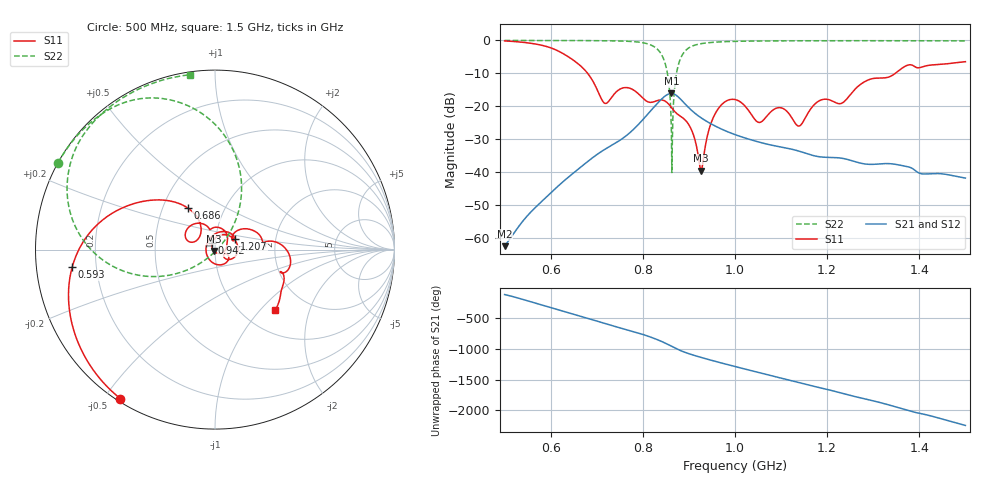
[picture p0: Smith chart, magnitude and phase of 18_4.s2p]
! TOUCHSTONE file generated by CST MICROWAVE STUDIO
! Date and time: Fri Oct  2 16:56:43 2020
! Project name: Scenario_1_Free_Space_out_of_line.cst
! Parameters = {Lambda=346.42; Step_1=17.321; dy1=52.843; dx1=693; L_HA=400; MT=2.54; Rad_Dielectric=30; Rad_Lower=7.3; Rad_Upper=30; a_HA=580; a_WG=246; b_HA=500; b_WG=121; c_HA=0; c_WG=187; d_feed=85; h_feed=15; h_lower=18; h_upper=40}
! Header version: 2018
! Port assignment regex: !\s*Touchstone port\s*([0-9]+)\s*=\s*(CST MWS port|CST DS port)\s*([0-9]+|Zmin|Zmax)\s*\(\"(.*)\"\)(\s*mode\s*([0-9]+))?.*
! Touchstone port assignment:
! Touchstone port 1 = CST MWS port 1 ("")
! Touchstone port 2 = CST MWS port 2 ("")
# GHz S DB R 50
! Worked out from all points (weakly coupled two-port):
!   1003 points, 500 MHz to 1.5 GHz, reference 50 ohm
!   highest |S21| = -16.10 dB at 862 MHz (marker M1); lowest = -62.4 dB at 500 MHz (marker M2)
!   lowest |S11| = -39.6 dB at 926 MHz (marker M3), VSWR 1.02, Z = 49.3 - j0.742 ohm
!   |S11| at or under -10 dB: 680.3 MHz to 1.348 GHz (667.4 MHz wide, 65.8 % of centre)
!   |S22| runs from -40.1 to 0.0 dB; largest |S21 - S12| = 2.9e-06
!   S11 on the Smith chart (normalised r, x): 500 MHz: 0.01, -0.55; 593 MHz: 0.11, -0.06; 686 MHz: 0.67, +0.34; 942 MHz: 0.97, +0.07; 1.207 GHz: 1.24, +0.15; 1.5 GHz: 1.40, -1.21
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0.5  -0.15 -122.4  -62.42 -116.9  -62.42 -116.9  -0.01 151.2
0.593  -1.92 -173.0  -47.20 46.5  -47.20 46.5  -0.02 144.7
0.667  -7.99 136.2  -38.23 -114.1  -38.23 -114.1  -0.04 138.4
0.686  -11.10 123.3  -36.11 -156.2  -36.11 -156.2  -0.06 136.5
0.718  -19.10 142.8  -33.00 131.2  -33.00 131.2  -0.10 132.7
0.762  -14.30 143.7  -29.12 37.3  -29.12 37.3  -0.22 125.4
0.834  -18.13 90.9  -18.74 -138.8  -18.74 -138.8  -3.01 90.8
0.851  -18.67 61.8  -16.61 163.9  -16.61 163.9  -8.38 67.1
0.862  -20.35 43.4  -16.10 122.3  -16.10 122.3  -27.86 36.2
0.882  -23.02 20.2  -17.84 50.5  -17.84 50.5  -5.41 -167.7
0.906  -27.25 -25.3  -21.24 -14.4  -21.24 -14.4  -1.78 167.8
0.926  -39.55 -134.3  -23.44 -59.3  -23.44 -59.3  -0.99 157.5
0.942  -27.84 113.3  -24.83 -93.1  -24.83 -93.1  -0.70 152.2
0.967  -20.09 56.6  -26.66 -143.8  -26.66 -143.8  -0.44 146.3
1  -17.93 -2.9  -28.57 152.0  -28.57 152.0  -0.28 140.8
1.052  -24.88 -30.1  -30.84 53.0  -30.84 53.0  -0.17 134.6
1.098  -20.40 -51.9  -32.29 -33.4  -32.29 -33.4  -0.13 130.2
1.14  -25.94 172.0  -33.63 -114.1  -33.63 -114.1  -0.11 126.6
1.167  -20.27 79.8  -34.82 -163.4  -34.82 -163.4  -0.10 124.4
1.207  -18.13 27.8  -35.50 126.4  -35.50 126.4  -0.09 121.3
1.334  -11.09 8.4  -37.37 -113.5  -37.37 -113.5  -0.09 111.7
1.5  -6.45 -45.0  -41.75 -87.2  -41.75 -87.2  -0.14 98.2
